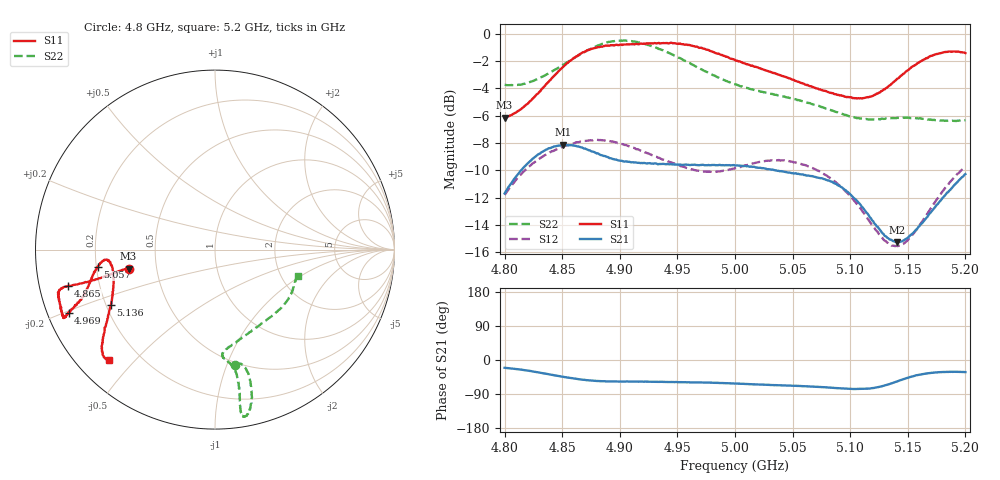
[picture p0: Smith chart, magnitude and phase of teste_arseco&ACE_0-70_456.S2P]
! Network Analyzer HP8722D
! Hewlett-Packard
! Data name: Linha & Wilkinson
! Saver's name: Rodrigo Anjos
! Comments: Teste da utilização de aquisição
! continua pelo VNA HP8722D
! Time and date: 8/5/2025 16:33
!  Frequency  S11  S21  S12  S22
# HZ  S  MA R 50
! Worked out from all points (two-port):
!   401 points, 4.8 GHz to 5.2 GHz, reference 50 ohm
!   highest |S21| = -8.12 dB at 4.851 GHz (marker M1); lowest = -15.3 dB at 5.141 GHz (marker M2)
!   |S21| within 3 dB of the highest: 4.804 GHz to 5.09 GHz (285.9 MHz wide, 5.78 % of centre); 5.189991 GHz to end of sweep
!   lowest |S11| = -6.1 dB at 4.8 GHz (marker M3), VSWR 2.94, Z = 17.2 - j4.83 ohm
!   |S11| at or under -10 dB: nowhere
!   |S22| runs from -6.4 to -0.5 dB; largest |S21 - S12| = 0.62
!   S11 on the Smith chart (normalised r, x): 4.8 GHz: 0.34, -0.10; 4.865 GHz: 0.09, -0.12; 4.969 GHz: 0.06, -0.21; 5.057 GHz: 0.20, -0.07; 5.136 GHz: 0.22, -0.24; 5.2 GHz: 0.10, -0.42
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4.8e9  0.4928 -167.5  0.2603 -20.5  0.2572 -141.7  0.6514 -80.2
4.826e9  0.5883 -166.8  0.3534 -31.0  0.3386 -145.8  0.6758 -75.9
4.851e9  0.7585 -165.8  0.3925 -44.5  0.3861 -150.2  0.7722 -75.1
4.865e9  0.841 -166.2  0.3855 -50.8  0.402 -152.5  0.838 -75.8
4.867e9  0.8511 -166.0  0.3835 -51.8  0.4031 -152.8  0.8483 -75.9
4.899e9  0.9091 -163.1  0.3435 -56.9  0.3979 -157.2  0.9433 -79.5
4.914e9  0.9185 -159.7  0.338 -56.7  0.3781 -157.4  0.935 -80.8
4.934e9  0.9262 -156.5  0.3335 -57.7  0.3515 -155.9  0.8801 -80.9
4.969e9  0.8881 -156.7  0.3301 -59.3  0.3147 -147.5  0.748 -80.1
5e9  0.8021 -159.5  0.3296 -62.2  0.3222 -137.6  0.6534 -81.6
5.032e9  0.7225 -165.2  0.3181 -66.2  0.3443 -134.9  0.6025 -85.8
5.057e9  0.6614 -171.5  0.3056 -68.7  0.3342 -136.7  0.5694 -84.9
5.067e9  0.6394 -173.5  0.3012 -70.1  0.3228 -137.6  0.5527 -82.7
5.086e9  0.6021 -174.6  0.2837 -73.6  0.289 -139.2  0.5204 -75.0
5.1e9  0.5855 -171.9  0.2585 -76.2  0.2548 -139.4  0.4989 -66.6
5.116e9  0.586 -164.7  0.2168 -75.5  0.2078 -135.2  0.4853 -55.2
5.134e9  0.6465 -153.2  0.1767 -63.6  0.1692 -119.0  0.4907 -42.9
5.136e9  0.6565 -152.1  0.1757 -61.5  0.1675 -116.5  0.491 -41.8
5.141e9  0.6854 -149.5  0.1725 -56.0  0.1669 -109.9  0.4926 -38.9
5.152e9  0.7472 -144.8  0.1825 -44.9  0.1787 -95.9  0.4911 -33.1
5.17e9  0.8298 -139.6  0.2219 -34.0  0.2295 -82.0  0.4852 -25.3
5.2e9  0.8502 -133.8  0.3064 -32.0  0.3251 -77.4  0.4828 -17.7
